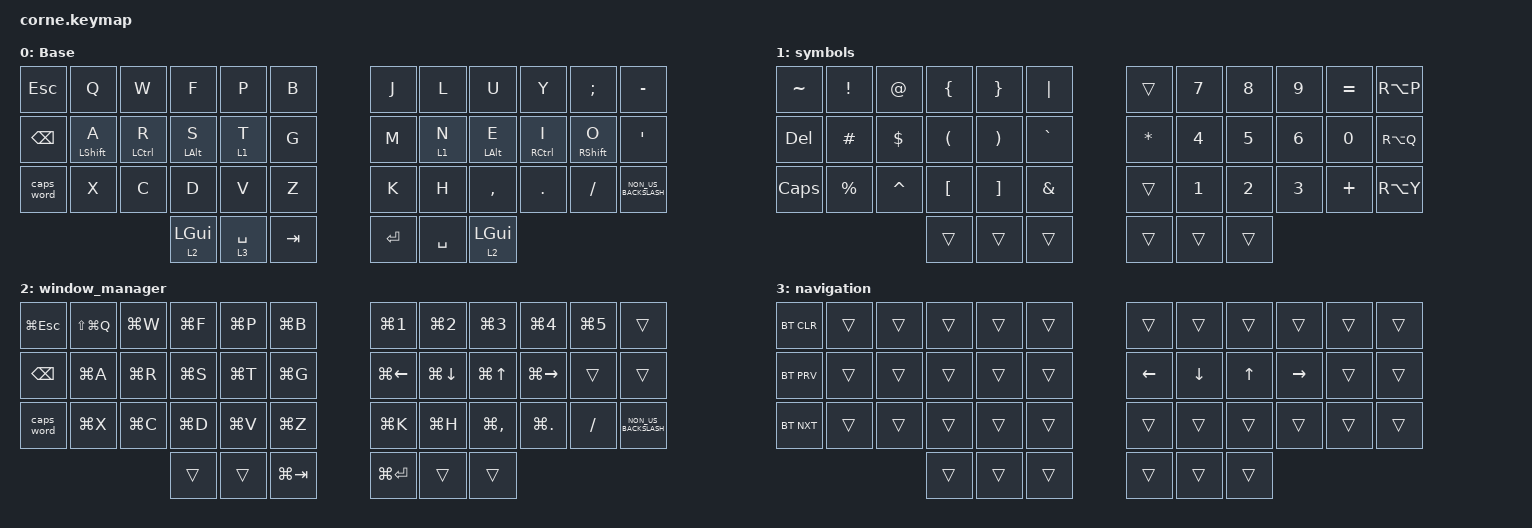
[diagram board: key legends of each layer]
/*
 * Copyright (c) 2020 The ZMK Contributors
 *
 * SPDX-License-Identifier: MIT
 */

#include <behaviors.dtsi>
#include <dt-bindings/zmk/bt.h>
#include <dt-bindings/zmk/keys.h>
#include "zmk-helpers/helper.h"
#include "zmk-helpers/key-labels/42.h"
#define KEYS_L LT0 LT1 LT2 LT3 LT4 LT5 LM0 LM1 LM2 LM3 LM4 LM5 LB0 LB1 LB2 LB3 LB4 LB5  // left-hand keys
#define KEYS_R RT0 RT1 RT2 RT3 RT4 RM5 RM0 RM1 RM2 RM3 RM4 RM5 RB0 RB1 RB2 RB3 RB4 RB5  // right-hand keys
#define THUMBS LH2 LH1 LH0 RH0 RH1 RH2                                      // thumb keys

ZMK_BEHAVIOR(hml, hold_tap,  // left-hand HRMs
    flavor = "balanced";
    tapping-term-ms = <280>;
    quick-tap-ms = <125>;
    bindings = <&kp>, <&kp>;
    // hold-trigger-key-positions = <KEYS_R THUMBS>;
)

ZMK_BEHAVIOR(hmr, hold_tap,  // right-hand HRMs
    flavor = "balanced";
    tapping-term-ms = <280>;
    quick-tap-ms = <125>;
    bindings = <&kp>, <&kp>;
    // hold-trigger-key-positions = <KEYS_L THUMBS>;
)

/ {
    combos {
        compatible = "zmk,combos";

        Escape {
            bindings = <&kp ESCAPE>;
            key-positions = <19 20>;
            timeout-ms = <100>;
        };
    };

    keymap {
        compatible = "zmk,keymap";

        default_layer {
            // -----------------------------------------------------------------------------------------
            // |  TAB |  Q  |  W  |  E  |  R  |  T  |   |  Y  |  U   |  I  |  O  |  P  | BKSP |
            // | CTRL |  A  |  S  |  D  |  F  |  G  |   |  H  |  J   |  K  |  L  |  ;  |  '   |
            // | SHFT |  Z  |  X  |  C  |  V  |  B  |   |  N  |  M   |  ,  |  .  |  /  | ESC  |
            //                    | GUI | LWR | SPC |   | ENT | RSE  | ALT |

            display-name = "Base";
            bindings = <
&kp ESCAPE     &kp Q             &kp W        &kp F           &kp P        &kp B      &kp J    &kp L      &kp U           &kp Y        &kp SEMICOLON      &kp MINUS
&kp BACKSPACE  &hml LEFT_SHIFT A &hml LCTRL R &hml LEFT_ALT S &lt 1 T      &kp G      &kp M    &lt 1 N    &hmr LEFT_ALT E &hmr RCTRL I &hmr RIGHT_SHIFT O &kp SQT
&caps_word     &kp X             &kp C        &kp D           &kp V        &kp Z      &kp K    &kp H      &kp COMMA       &kp DOT      &kp FSLH           &kp NON_US_BACKSLASH
                                              &lt 2 LGUI      &lt 3 SPACE  &kp TAB    &kp RET  &kp SPACE  &lt 2 LGUI
            >;
        };

        symbols {
            bindings = <
&kp TILDE       &kp EXCLAMATION  &kp AT_SIGN  &kp LEFT_BRACE        &kp RIGHT_BRACE        &kp PIPE         &trans        &kp NUMBER_7  &kp NUMBER_8  &kp NUMBER_9  &kp EQUAL     &kp RA(P)
&kp DELETE      &kp HASH         &kp DOLLAR   &kp LEFT_PARENTHESIS  &kp RIGHT_PARENTHESIS  &kp GRAVE        &kp ASTERISK  &kp NUMBER_4  &kp NUMBER_5  &kp NUMBER_6  &kp NUMBER_0  &kp RA(Q)
&kp CAPSLOCK   &kp PERCENT      &kp CARET    &kp LEFT_BRACKET      &kp RIGHT_BRACKET      &kp AMPERSAND    &trans        &kp NUMBER_1  &kp NUMBER_2  &kp NUMBER_3  &kp PLUS      &kp RA(Y)
                                      &trans                &trans                 &trans           &trans        &trans        &trans
            >;
        };

        window_manager {
            bindings = <
&kp LG(ESCAPE)  &kp LS(LG(Q))  &kp LG(W)     &kp LG(F)  &kp LG(P)      &kp LG(B)         &kp LG(NUMBER_1)    &kp LG(NUMBER_2)    &kp LG(NUMBER_3)  &kp LG(NUMBER_4)  &kp LG(NUMBER_5)  &trans
&kp BACKSPACE   &kp LG(A)      &kp LG(R)     &kp LG(S)  &kp LG(T)      &kp LG(G)         &kp LG(LEFT_ARROW)  &kp LG(DOWN_ARROW)  &kp LG(UP_ARROW)  &kp LG(RIGHT)     &trans            &trans
&caps_word      &kp LG(X)      &kp LG(C)     &kp LG(D)  &kp LG(V)      &kp LG(Z)         &kp LG(K)           &kp LG(H)           &kp LG(COMMA)     &kp LG(DOT)       &kp FSLH          &kp NON_US_BACKSLASH
                               &trans        &trans     &kp LG(TAB)    &kp LG(ENTER)     &trans              &trans
            >;
        };

        navigation {
            bindings = <
&bt BT_CLR  &trans  &trans  &trans  &trans  &trans    &trans          &trans    &trans        &trans           &trans    &trans
&bt BT_PRV  &trans  &trans  &trans  &trans  &trans    &kp LEFT_ARROW  &kp DOWN  &kp UP_ARROW  &kp RIGHT_ARROW  &trans    &trans
&bt BT_NXT  &trans  &trans  &trans  &trans  &trans    &trans          &trans    &trans        &trans           &trans    &trans
                        &trans  &trans  &trans    &trans          &trans    &trans
            >;
        };
    };
};
